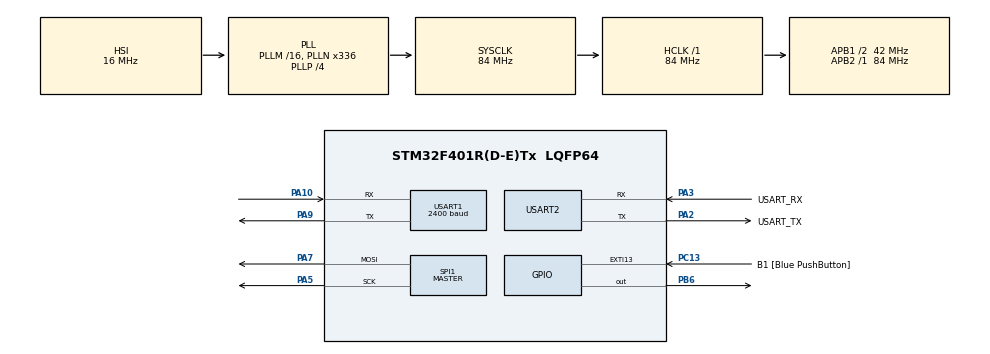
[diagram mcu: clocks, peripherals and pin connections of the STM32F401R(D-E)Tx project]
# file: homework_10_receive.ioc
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Dma.Request0=SPI1_TX
Dma.SPI1_TX.0.Direction=DMA_MEMORY_TO_PERIPH
Dma.SPI1_TX.0.FIFOMode=DMA_FIFOMODE_DISABLE
Dma.SPI1_TX.0.Instance=DMA2_Stream3
Dma.SPI1_TX.0.MemDataAlignment=DMA_MDATAALIGN_BYTE
Dma.SPI1_TX.0.MemInc=DMA_MINC_ENABLE
Dma.SPI1_TX.0.Mode=DMA_NORMAL
Dma.SPI1_TX.0.PeriphDataAlignment=DMA_PDATAALIGN_BYTE
Dma.SPI1_TX.0.PeriphInc=DMA_PINC_DISABLE
Dma.SPI1_TX.0.Priority=DMA_PRIORITY_LOW
Mcu.Family=STM32F4
Mcu.Name=STM32F401R(D-E)Tx
Mcu.Package=LQFP64
NVIC.DMA2_Stream3_IRQn=true\:0\:0\:false\:false\:true\:false\:true\:true
NVIC.PriorityGroup=NVIC_PRIORITYGROUP_0
NVIC.TIM1_UP_TIM10_IRQn=true\:0\:0\:false\:false\:true\:true\:true\:true
NVIC.USART1_IRQn=true\:0\:0\:false\:false\:true\:true\:true\:true
PA10.Mode=Asynchronous
PA10.Signal=USART1_RX
PA13.GPIO_Label=TMS
PA13.Mode=Serial_Wire
PA13.Signal=SYS_JTMS-SWDIO
PA14.GPIO_Label=TCK
PA14.Mode=Serial_Wire
PA14.Signal=SYS_JTCK-SWCLK
PA2.GPIO_Label=USART_TX
PA2.GPIO_Mode=GPIO_MODE_AF_PP
PA2.GPIO_PuPd=GPIO_NOPULL
PA2.GPIO_Speed=GPIO_SPEED_FREQ_LOW
PA2.Mode=Asynchronous
PA2.Signal=USART2_TX
PA3.GPIO_Label=USART_RX
PA3.GPIO_Mode=GPIO_MODE_AF_PP
PA3.GPIO_PuPd=GPIO_NOPULL
PA3.GPIO_Speed=GPIO_SPEED_FREQ_LOW
PA3.Mode=Asynchronous
PA3.Signal=USART2_RX
PA5.Mode=TX_Only_Simplex_Unidirect_Master
PA5.Signal=SPI1_SCK
PA7.Mode=TX_Only_Simplex_Unidirect_Master
PA7.Signal=SPI1_MOSI
PA9.Mode=Asynchronous
PA9.Signal=USART1_TX
PB3.GPIO_Label=SWO
PB3.Signal=SYS_JTDO-SWO
PB6.Signal=GPIO_Output
PC13-ANTI_TAMP.GPIO_Label=B1 [Blue PushButton]
PC13-ANTI_TAMP.GPIO_ModeDefaultEXTI=GPIO_MODE_IT_FALLING
PC13-ANTI_TAMP.GPIO_PuPd=GPIO_NOPULL
PC13-ANTI_TAMP.Signal=GPXTI13
PC14-OSC32_IN.Mode=LSE-External-Oscillator
PC14-OSC32_IN.Signal=RCC_OSC32_IN
PC15-OSC32_OUT.Mode=LSE-External-Oscillator
PC15-OSC32_OUT.Signal=RCC_OSC32_OUT
PH0\ -\ OSC_IN.Mode=HSE-External-Clock-Source
PH0\ -\ OSC_IN.Signal=RCC_OSC_IN
PH1\ -\ OSC_OUT.Mode=HSE-External-Clock-Source
PH1\ -\ OSC_OUT.Signal=RCC_OSC_OUT
ProjectManager.HeapSize=0x200
ProjectManager.StackSize=0x400
ProjectManager.TargetToolchain=STM32CubeIDE
RCC.48MHZClocksFreq_Value=48000000
RCC.AHBFreq_Value=84000000
RCC.APB1CLKDivider=RCC_HCLK_DIV2
RCC.APB1Freq_Value=42000000
RCC.APB1TimFreq_Value=84000000
RCC.APB2Freq_Value=84000000
RCC.APB2TimFreq_Value=84000000
RCC.CortexFreq_Value=84000000
RCC.HCLKFreq_Value=84000000
RCC.HSE_VALUE=8000000
RCC.HSI_VALUE=16000000
RCC.PLLN=336
RCC.PLLP=RCC_PLLP_DIV4
RCC.PLLQ=7
RCC.SYSCLKFreq_VALUE=84000000
RCC.SYSCLKSource=RCC_SYSCLKSOURCE_PLLCLK
RCC.VCOOutputFreq_Value=336000000
SPI1.BaudRatePrescaler=SPI_BAUDRATEPRESCALER_4
SPI1.Direction=SPI_DIRECTION_2LINES
SPI1.Mode=SPI_MODE_MASTER
SPI1.VirtualType=VM_MASTER
TIM10.Period=4000-1
TIM10.Prescaler=84-1
USART1.BaudRate=2400
USART1.Mode=MODE_RX
USART1.Parity=PARITY_ODD
USART1.VirtualMode=VM_ASYNC
USART2.VirtualMode=VM_ASYNC
VP_TIM10_VS_ClockSourceINT.Mode=Enable_Timer
board=NUCLEO-F401RE

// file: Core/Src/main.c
/* USER CODE BEGIN Header */
/**
  ******************************************************************************
  * @file           : main.c
  * @brief          : Main program body
  ******************************************************************************
  * @attention
  *
  * Copyright (c) 2023 STMicroelectronics.
  * All rights reserved.
  *
  * This software is licensed under terms that can be found in the LICENSE file
  * in the root directory of this software component.
  * If no LICENSE file comes with this software, it is provided AS-IS.
  *
  ******************************************************************************
  */
/* USER CODE END Header */
#include "main.h"

/* USER CODE BEGIN PD */
#define RCLK_PIN GPIOB, GPIO_PIN_6
/* USER CODE END PD */

SPI_HandleTypeDef hspi1;
DMA_HandleTypeDef hdma_spi1_tx;

TIM_HandleTypeDef htim10;

UART_HandleTypeDef huart1;
UART_HandleTypeDef huart2;

/* USER CODE BEGIN PV */
int column_index = 0;

//uint8_t matrix[5][2] = {
//		{31, 16},
//		{36, 8},
//		{68, 4},
//		{36, 2},
//		{31, 1},
//};

uint8_t matrix_QM[5][2] = {
		{0, 16},
		{32, 8},
		{69, 4},
		{72, 2},
		{48, 1},
};

uint8_t matrix_A[5][2] = {
		{31, 16},
		{36, 8},
		{68, 4},
		{36, 2},
		{31, 1},
};

uint8_t matrix_B[5][2] = {
		{127, 16},
		{73, 8},
		{73, 4},
		{73, 2},
		{54, 1},
};

uint8_t matrix_C[5][2] = {
		{62, 16},
		{65, 8},
		{65, 4},
		{65, 2},
		{34, 1},
};

uint8_t matrix_D[5][2] = {
		{127, 16},
		{65, 8},
		{65, 4},
		{65, 2},
		{62, 1},
};

uint8_t matrix_E[5][2] = {
		{127, 16},
		{73, 8},
		{73, 4},
		{73, 2},
		{73, 1},
};

uint8_t matrix_F[5][2] = {
		{127, 16},
		{72, 8},
		{72, 4},
		{72, 2},
		{72, 1},
};

uint8_t matrix_0[5][2] = {
		{62, 16},
		{113, 8},
		{73, 4},
		{71, 2},
		{62, 1},
};

uint8_t matrix_1[5][2] = {
		{16, 16},
		{33, 8},
		{127, 4},
		{1, 2},
		{0, 1},
};

uint8_t matrix_2[5][2] = {
		{33, 16},
		{67, 8},
		{69, 4},
		{73, 2},
		{49, 1},
};

uint8_t matrix_3[5][2] = {
		{34, 16},
		{65, 8},
		{73, 4},
		{73, 2},
		{54, 1},
};

uint8_t matrix_4[5][2] = {
		{120, 16},
		{8, 8},
		{8, 4},
		{8, 2},
		{127, 1},
};

uint8_t matrix_5[5][2] = {
		{114, 16},
		{81, 8},
		{81, 4},
		{81, 2},
		{78, 1},
};

uint8_t matrix_6[5][2] = {
		{62, 16},
		{73, 8},
		{73, 4},
		{73, 2},
		{38, 1},
};

uint8_t matrix_7[5][2] = {
		{64, 16},
		{64, 8},
		{79, 4},
		{80, 2},
		{96, 1}
};

uint8_t matrix_8[5][2] = {
		{54, 16},
		{73, 8},
		{73, 4},
		{73, 2},
		{54, 1}
};

uint8_t matrix_9[5][2] = {
		{50, 16},
		{73, 8},
		{73, 4},
		{73, 2},
		{62, 1}
};

uint8_t* matrix = matrix_QM;

char RX_byte = 0;
char command = 0;
int new_command = 0;
char RX_byte2 = 0;

uint8_t** charmap[256];
/* USER CODE END PV */

void SystemClock_Config(void);
static void MX_GPIO_Init(void);
static void MX_DMA_Init(void);
static void MX_USART2_UART_Init(void);
static void MX_SPI1_Init(void);
static void MX_TIM10_Init(void);
static void MX_USART1_UART_Init(void);

/* USER CODE BEGIN 0 */

void init_char_map(void) {
	for(int i = 0; i < 256; i++) {
		charmap[i] = matrix_QM;
	}

	charmap['0'] = matrix_0;
	charmap['1'] = matrix_1;
	charmap['2'] = matrix_2;
	charmap['3'] = matrix_3;
	charmap['4'] = matrix_4;
	charmap['5'] = matrix_5;
	charmap['6'] = matrix_6;
	charmap['7'] = matrix_7;
	charmap['8'] = matrix_8;
	charmap['9'] = matrix_9;
	charmap['A'] = matrix_A;
	charmap['B'] = matrix_B;
	charmap['C'] = matrix_C;
	charmap['D'] = matrix_D;
	charmap['E'] = matrix_E;
	charmap['F'] = matrix_F;
}

void show_letter(char digit) {
	matrix = charmap[(uint8_t) digit];
}

void LED_matrix_callback() {
	HAL_GPIO_WritePin(RCLK_PIN, GPIO_PIN_RESET);

	HAL_SPI_Transmit_DMA(&hspi1, &matrix[2 * column_index], 2);
	if(++column_index > 4) column_index = 0;
}

void HAL_TIM_PeriodElapsedCallback(TIM_HandleTypeDef *htim) {
	if(htim == &htim10) LED_matrix_callback();
}

void HAL_UART_RxCpltCallback(UART_HandleTypeDef* huart) {
	if (huart != &huart1) return;

	HAL_UART_Receive_IT(&huart1, &RX_byte, 1);

	command = RX_byte;
	new_command = 1;
}

void HAL_SPI_TxCpltCallback(SPI_HandleTypeDef *hspi) {
	if(hspi != &hspi1) return;

	HAL_GPIO_WritePin(RCLK_PIN, GPIO_PIN_SET);
}

void show_new_command() {
	if(new_command) {
		show_letter(command);
		new_command = 0;
	}
}
/* USER CODE END 0 */

int main(void)
{

  /* MCU Configuration--------------------------------------------------------*/

  /* Reset of all peripherals, Initializes the Flash interface and the Systick. */
  HAL_Init();

  /* Configure the system clock */
  SystemClock_Config();

  /* Initialize all configured peripherals */
  MX_GPIO_Init();
  MX_DMA_Init();
  MX_USART2_UART_Init();
  MX_SPI1_Init();
  MX_TIM10_Init();
  MX_USART1_UART_Init();
  /* USER CODE BEGIN 2 */
  init_char_map();
  HAL_UART_Receive_IT(&huart1, &RX_byte, 1);

  HAL_TIM_Base_Start_IT(&htim10);
  /* USER CODE END 2 */

  /* Infinite loop */
  /* USER CODE BEGIN WHILE */
  while (1)
  {
	show_new_command();
    /* USER CODE END WHILE */

  }
}

void SystemClock_Config(void)
{
  RCC_OscInitTypeDef RCC_OscInitStruct = {0};
  RCC_ClkInitTypeDef RCC_ClkInitStruct = {0};

  /** Configure the main internal regulator output voltage
  */
  __HAL_RCC_PWR_CLK_ENABLE();
  __HAL_PWR_VOLTAGESCALING_CONFIG(PWR_REGULATOR_VOLTAGE_SCALE2);

  /** Initializes the RCC Oscillators according to the specified parameters
  * in the RCC_OscInitTypeDef structure.
  */
  RCC_OscInitStruct.OscillatorType = RCC_OSCILLATORTYPE_HSI;
  RCC_OscInitStruct.HSIState = RCC_HSI_ON;
  RCC_OscInitStruct.HSICalibrationValue = RCC_HSICALIBRATION_DEFAULT;
  RCC_OscInitStruct.PLL.PLLState = RCC_PLL_ON;
  RCC_OscInitStruct.PLL.PLLSource = RCC_PLLSOURCE_HSI;
  RCC_OscInitStruct.PLL.PLLM = 16;
  RCC_OscInitStruct.PLL.PLLN = 336;
  RCC_OscInitStruct.PLL.PLLP = RCC_PLLP_DIV4;
  RCC_OscInitStruct.PLL.PLLQ = 7;
  if (HAL_RCC_OscConfig(&RCC_OscInitStruct) != HAL_OK)
  {
    Error_Handler();
  }

  /** Initializes the CPU, AHB and APB buses clocks
  */
  RCC_ClkInitStruct.ClockType = RCC_CLOCKTYPE_HCLK|RCC_CLOCKTYPE_SYSCLK
                              |RCC_CLOCKTYPE_PCLK1|RCC_CLOCKTYPE_PCLK2;
  RCC_ClkInitStruct.SYSCLKSource = RCC_SYSCLKSOURCE_PLLCLK;
  RCC_ClkInitStruct.AHBCLKDivider = RCC_SYSCLK_DIV1;
  RCC_ClkInitStruct.APB1CLKDivider = RCC_HCLK_DIV2;
  RCC_ClkInitStruct.APB2CLKDivider = RCC_HCLK_DIV1;

  if (HAL_RCC_ClockConfig(&RCC_ClkInitStruct, FLASH_LATENCY_2) != HAL_OK)
  {
    Error_Handler();
  }
}

static void MX_SPI1_Init(void)
{

  /* SPI1 parameter configuration*/
  hspi1.Instance = SPI1;
  hspi1.Init.Mode = SPI_MODE_MASTER;
  hspi1.Init.Direction = SPI_DIRECTION_2LINES;
  hspi1.Init.DataSize = SPI_DATASIZE_8BIT;
  hspi1.Init.CLKPolarity = SPI_POLARITY_LOW;
  hspi1.Init.CLKPhase = SPI_PHASE_1EDGE;
  hspi1.Init.NSS = SPI_NSS_SOFT;
  hspi1.Init.BaudRatePrescaler = SPI_BAUDRATEPRESCALER_4;
  hspi1.Init.FirstBit = SPI_FIRSTBIT_MSB;
  hspi1.Init.TIMode = SPI_TIMODE_DISABLE;
  hspi1.Init.CRCCalculation = SPI_CRCCALCULATION_DISABLE;
  hspi1.Init.CRCPolynomial = 10;
  if (HAL_SPI_Init(&hspi1) != HAL_OK)
  {
    Error_Handler();
  }

}

static void MX_TIM10_Init(void)
{

  htim10.Instance = TIM10;
  htim10.Init.Prescaler = 84-1;
  htim10.Init.CounterMode = TIM_COUNTERMODE_UP;
  htim10.Init.Period = 4000-1;
  htim10.Init.ClockDivision = TIM_CLOCKDIVISION_DIV1;
  htim10.Init.AutoReloadPreload = TIM_AUTORELOAD_PRELOAD_DISABLE;
  if (HAL_TIM_Base_Init(&htim10) != HAL_OK)
  {
    Error_Handler();
  }

}

static void MX_USART1_UART_Init(void)
{

  huart1.Instance = USART1;
  huart1.Init.BaudRate = 2400;
  huart1.Init.WordLength = UART_WORDLENGTH_8B;
  huart1.Init.StopBits = UART_STOPBITS_1;
  huart1.Init.Parity = UART_PARITY_ODD;
  huart1.Init.Mode = UART_MODE_RX;
  huart1.Init.HwFlowCtl = UART_HWCONTROL_NONE;
  huart1.Init.OverSampling = UART_OVERSAMPLING_16;
  if (HAL_UART_Init(&huart1) != HAL_OK)
  {
    Error_Handler();
  }

}

static void MX_USART2_UART_Init(void)
{

  huart2.Instance = USART2;
  huart2.Init.BaudRate = 115200;
  huart2.Init.WordLength = UART_WORDLENGTH_8B;
  huart2.Init.StopBits = UART_STOPBITS_1;
  huart2.Init.Parity = UART_PARITY_NONE;
  huart2.Init.Mode = UART_MODE_TX_RX;
  huart2.Init.HwFlowCtl = UART_HWCONTROL_NONE;
  huart2.Init.OverSampling = UART_OVERSAMPLING_16;
  if (HAL_UART_Init(&huart2) != HAL_OK)
  {
    Error_Handler();
  }

}

static void MX_DMA_Init(void)
{

  /* DMA controller clock enable */
  __HAL_RCC_DMA2_CLK_ENABLE();

  /* DMA interrupt init */
  /* DMA2_Stream3_IRQn interrupt configuration */
  HAL_NVIC_SetPriority(DMA2_Stream3_IRQn, 0, 0);
  HAL_NVIC_EnableIRQ(DMA2_Stream3_IRQn);

}

static void MX_GPIO_Init(void)
{
  GPIO_InitTypeDef GPIO_InitStruct = {0};

  /* GPIO Ports Clock Enable */
  __HAL_RCC_GPIOC_CLK_ENABLE();
  __HAL_RCC_GPIOH_CLK_ENABLE();
  __HAL_RCC_GPIOA_CLK_ENABLE();
  __HAL_RCC_GPIOB_CLK_ENABLE();

  /*Configure GPIO pin Output Level */
  HAL_GPIO_WritePin(GPIOB, GPIO_PIN_6, GPIO_PIN_RESET);

  /*Configure GPIO pin : B1_Pin */
  GPIO_InitStruct.Pin = B1_Pin;
  GPIO_InitStruct.Mode = GPIO_MODE_IT_FALLING;
  GPIO_InitStruct.Pull = GPIO_NOPULL;
  HAL_GPIO_Init(B1_GPIO_Port, &GPIO_InitStruct);

  /*Configure GPIO pin : PB6 */
  GPIO_InitStruct.Pin = GPIO_PIN_6;
  GPIO_InitStruct.Mode = GPIO_MODE_OUTPUT_PP;
  GPIO_InitStruct.Pull = GPIO_NOPULL;
  GPIO_InitStruct.Speed = GPIO_SPEED_FREQ_LOW;
  HAL_GPIO_Init(GPIOB, &GPIO_InitStruct);

}

void Error_Handler(void)
{
  __disable_irq();
  while (1)
  {
  }
}
